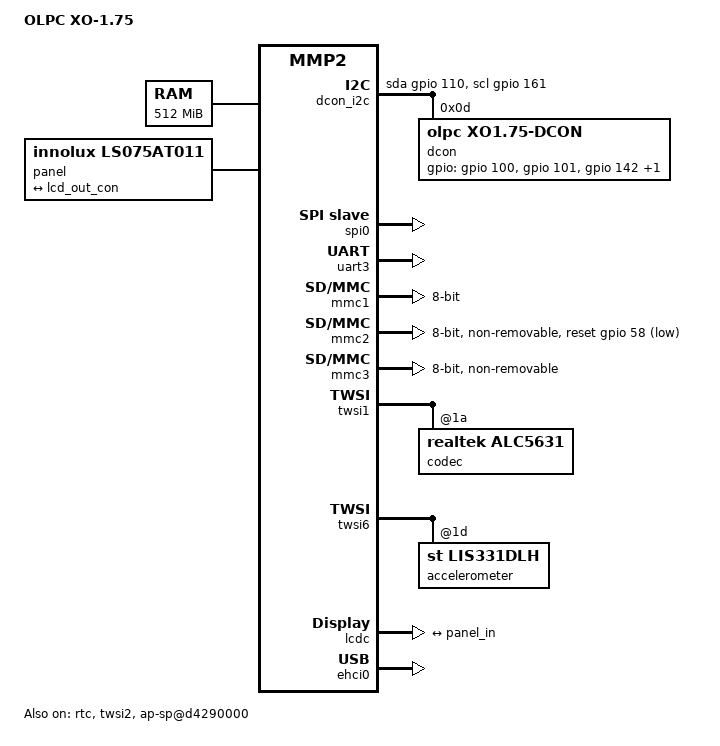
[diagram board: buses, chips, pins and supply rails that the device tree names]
/dts-v1/;
#include "mmp2.dtsi"
#include <dt-bindings/gpio/gpio.h>

/ {
	model = "OLPC XO-1.75";
	compatible = "olpc,xo-1.75", "mrvl,mmp2";

	chosen {
		/* bootargs = "console=ttyS2,115200 earlyprintk root=upadol rdinit=/bin/sh"; */
		/* bootargs = "console=ttyS2,115200 earlyprintk root=/dev/ram0"; */
		bootargs = "console=tty0 console=ttyS2,115200 earlyprintk root=upadol rdinit=/sbin/init vt.color=0xf0 fbcon=font:OLPC15x30 root=/dev/sda3 rootwait";
	};

	memory {
		reg = <0x0 0x20000000>;
		available = <0x1000 0x1efff000>;
	};

	dcon_i2c {
		compatible = "i2c-gpio";
		gpios = <&gpio 110 GPIO_ACTIVE_HIGH &gpio 161 GPIO_ACTIVE_HIGH>;
		#address-cells = <1>;
		#size-cells = <0>;
		status = "okay";

		dcon@0d {
			.node = <0x382e0f00>;
			compatible = "olpc,xo1.75-dcon", "olpc,xo1-dcon";
			gpios = <&gpio 100 GPIO_ACTIVE_HIGH
				 &gpio 101 GPIO_ACTIVE_HIGH
				 &gpio 142 GPIO_ACTIVE_HIGH
				 &gpio 124 GPIO_ACTIVE_HIGH>;
			gpio-names = "stat0", "stat1", "load", "irq";
			reg = <0x0d>;
			status = "okay";
		};
	};

	panel {
		compatible = "innolux,ls075at011", "simple-panel";
		width-mm = <152>;
		height-mm = <115>;

		panel-timing {
			/* 1200x900 @50Hz */
			hactive = <1200>;
			vactive = <900>;
			clock-frequency = <56930000>;
			hback-porch = <24>;
			hfront-porch = <26>;
			vback-porch = <5>;
			vfront-porch = <4>;
			hsync-len = <6>;
			vsync-len = <3>;
		};

		port {
			panel_in: endpoint {
				remote-endpoint = <&lcd_out_con>;
			};
		};
	};

	soc {
		ap-sp@d4290000 {
			#address-cells = <0x1>;
			#size-cells = <0x0>;
			clocks = <&soc_clocks MMP2_CLK_WTM>;
			compatible = "olpc,ap-sp";
			interrupts = <40>;
			reg = <0xd4290000 0x1000>;
			status = "okay";
		};

		apb@d4000000 {
			spi0: ssp3@d4037000 {
				compatible = "marvell,mmp2-ssp3";
				reg = <0xd4037000 0x1000>;
				interrupts = <20>;
				clocks = <&soc_clocks MMP2_CLK_SSP3>;
				spi-slave;

				slave {
					compatible = "olpc,xo1.75-ec";
					ack-gpio = <&gpio 125 GPIO_ACTIVE_HIGH>;
					cmd-gpio = <&gpio 155 GPIO_ACTIVE_HIGH>;
				};
			};
		};
	};
};

&uart3 {
	status = "okay";
};

&rtc {
	status = "okay";
};

&mmc1 {
	bus-width = <8>;
	no-1-8-v;
	mrvl,clk-delay-cycles = <31>;
	status = "okay";
};

&mmc2 {
	bus-width = <8>;
	non-removable;
	broken-cd;
	/*xxx power-delay-ms = <0x32 0x1f4>; */
	power-gpios = <&gpio 34 GPIO_ACTIVE_HIGH>; /* ceck */
	reset-gpios = <&gpio 58 GPIO_ACTIVE_LOW>; /* ceck */
	mrvl,clk-delay-cycles = <31>;
	status = "okay";
};

&mmc3 {
	bus-width = <8>;
	non-removable;
	broken-cd;
	mrvl,clk-delay-cycles = <15>;
	status = "okay";
};

&twsi1 {
	status = "okay";
	codec: alc5631@1a {
		compatible = "realtek,alc5631";
		reg = <0x1a>;
		status = "okay";
	};
};

&twsi2 {
	status = "okay";
};

&twsi6 {
	status = "okay";
        accelerometer: lis3lv02d@1d {
                compatible = "st,lis331dlh", "st,lis3lv02d";
                reg = <0x1d>;
		status = "okay";
        };
};

&lcdc {
	status = "okay";

	port {
		lcd_out_con: endpoint {
			remote-endpoint = <&panel_in>;
		};
	};
};

&ehci0 {
	status = "okay";
};
